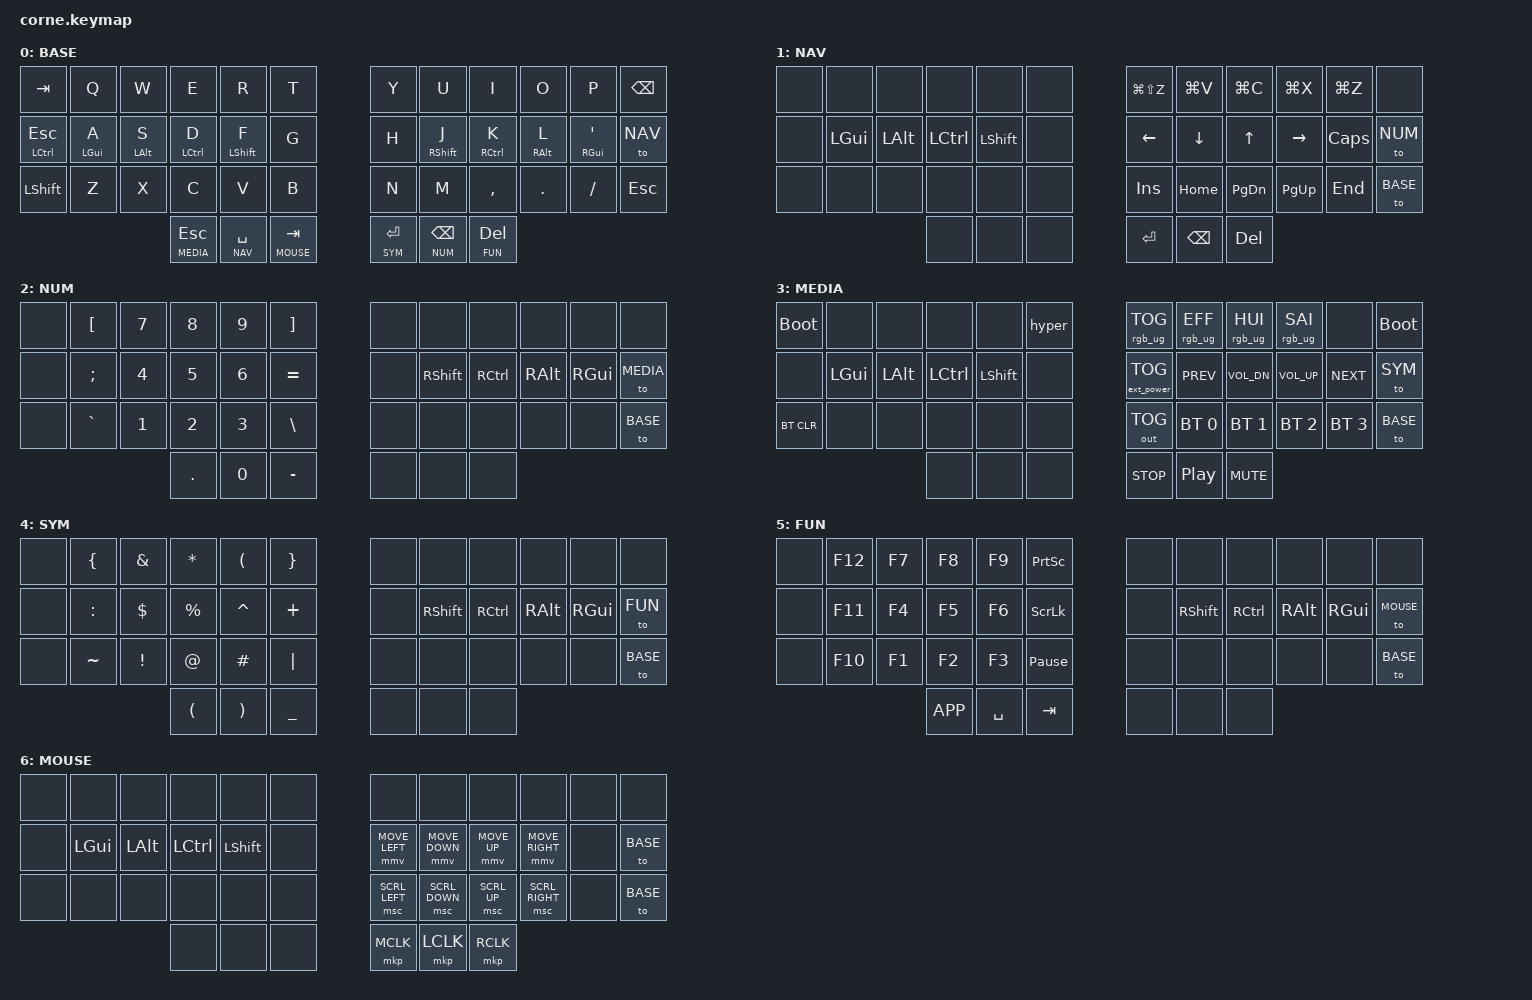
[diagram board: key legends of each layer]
/*
 * Copyright (c) 2020 The ZMK Contributors
 *
 * SPDX-License-Identifier: MIT
 */

//
//   Miryoku-style layout — QWERTY base, vim arrows (HJKL), GACS home row mods
//   Adapted from TOTEM config for Corne (42-key)
//
//   Layer 0: BASE    — QWERTY + home row mods
//   Layer 1: NAV     — vim arrows, clipboard, nav (hold SPACE)
//   Layer 2: NUM     — numpad left hand (hold BSPC)
//   Layer 3: MEDIA   — media, BT, RGB (hold ESC)
//   Layer 4: SYM     — symbols left hand (hold ENTER)
//   Layer 5: FUN     — function keys left hand (hold DEL)
//   Layer 6: MOUSE   — mouse movement, scroll, buttons (hold TAB)
//
//   Tap the far-right home-row key (position 23) to latch the next layer.
//   BASE -> NAV -> NUM -> MEDIA -> SYM -> FUN -> MOUSE -> BASE.
//   On utility layers, the far-right bottom-row key returns to BASE.
//   Hold-thumb shortcuts remain available from BASE; reboot starts at BASE.

#include <behaviors.dtsi>
#include <dt-bindings/zmk/bt.h>
#include <dt-bindings/zmk/ext_power.h>
#include <dt-bindings/zmk/keys.h>
#include <dt-bindings/zmk/outputs.h>
#include <dt-bindings/zmk/pointing.h>
#include <dt-bindings/zmk/rgb.h>

#define BASE  0
#define NAV   1
#define NUM   2
#define MEDIA 3
#define SYM   4
#define FUN   5
#define MOUSE 6

// Corne key positions (42 keys):
// Row 0:  0  1  2  3  4  5    6  7  8  9  10  11
// Row 1: 12 13 14 15 16 17   18 19 20 21  22  23
// Row 2: 24 25 26 27 28 29   30 31 32 33  34  35
// Thumb:          36 37 38   39 40 41

&mt {
    flavor = "tap-preferred";
    tapping-term-ms = <200>;
    quick-tap-ms = <175>;
    require-prior-idle-ms = <150>;
};

&lt {
    flavor = "balanced";
    tapping-term-ms = <200>;
    quick-tap-ms = <175>;
};

/ {
    combos {
        compatible = "zmk,combos";

        // -- Tier 1: Essential --

        combo_caps_word {
            layers = <BASE>; // Letter combos apply only while typing on BASE.
            bindings = <&caps_word>;
            key-positions = <16 19>;        // F + J (index home row)
            timeout-ms = <30>;
            require-prior-idle-ms = <150>;
        };

        combo_esc {
            layers = <BASE>; // Letter combos apply only while typing on BASE.
            bindings = <&kp ESC>;
            key-positions = <2 3>;          // W + E
            timeout-ms = <30>;
            require-prior-idle-ms = <150>;
        };

        combo_bspc {
            layers = <BASE>; // Letter combos apply only while typing on BASE.
            bindings = <&kp BSPC>;
            key-positions = <8 9>;          // I + O
            timeout-ms = <30>;
            require-prior-idle-ms = <150>;
        };

        combo_del {
            layers = <BASE>; // Letter combos apply only while typing on BASE.
            bindings = <&kp DEL>;
            key-positions = <9 10>;         // O + P
            timeout-ms = <30>;
            require-prior-idle-ms = <150>;
        };

        // -- Tier 2: High Value --

        combo_tab {
            layers = <BASE>; // Letter combos apply only while typing on BASE.
            bindings = <&kp TAB>;
            key-positions = <14 15>;        // S + D
            timeout-ms = <30>;
            require-prior-idle-ms = <150>;
        };

        combo_enter {
            layers = <BASE>; // Letter combos apply only while typing on BASE.
            bindings = <&kp RET>;
            key-positions = <20 21>;        // K + L
            timeout-ms = <30>;
            require-prior-idle-ms = <150>;
        };

        combo_copy {
            layers = <BASE>; // Letter combos apply only while typing on BASE.
            bindings = <&kp LG(C)>;
            key-positions = <26 27>;        // X + C
            timeout-ms = <30>;
            require-prior-idle-ms = <150>;
        };

        combo_paste {
            layers = <BASE>; // Letter combos apply only while typing on BASE.
            bindings = <&kp LG(V)>;
            key-positions = <27 28>;        // C + V
            timeout-ms = <30>;
            require-prior-idle-ms = <150>;
        };

        combo_cut {
            layers = <BASE>; // Letter combos apply only while typing on BASE.
            bindings = <&kp LG(X)>;
            key-positions = <26 28>;        // X + V (skip middle)
            timeout-ms = <30>;
            require-prior-idle-ms = <150>;
        };

        // -- Tier 3: Vertical Symbol Combos --

        combo_minus {
            layers = <BASE>; // Letter combos apply only while typing on BASE.
            bindings = <&kp MINUS>;
            key-positions = <19 31>;        // J + M (right index vertical)
            timeout-ms = <40>;
            require-prior-idle-ms = <100>;
        };

        combo_underscore {
            layers = <BASE>; // Letter combos apply only while typing on BASE.
            bindings = <&kp UNDER>;
            key-positions = <18 30>;        // H + N (right inner vertical)
            timeout-ms = <40>;
            require-prior-idle-ms = <100>;
        };

        combo_equal {
            layers = <BASE>; // Letter combos apply only while typing on BASE.
            bindings = <&kp EQUAL>;
            key-positions = <16 28>;        // F + V (left index vertical)
            timeout-ms = <40>;
            require-prior-idle-ms = <100>;
        };

        combo_grave {
            layers = <BASE>; // Letter combos apply only while typing on BASE.
            bindings = <&kp GRAVE>;
            key-positions = <14 26>;        // S + X (left ring vertical)
            timeout-ms = <40>;
            require-prior-idle-ms = <100>;
        };

        combo_semi {
            layers = <BASE>; // Letter combos apply only while typing on BASE.
            bindings = <&kp SEMI>;
            key-positions = <21 22>;        // L + ' (right ring+pinky home)
            timeout-ms = <30>;
            require-prior-idle-ms = <150>;
        };
    };

    macros {
        hyper: hyper {
            compatible = "zmk,behavior-macro";
            #binding-cells = <0>;
            bindings =
                <&macro_press &kp LGUI &kp LALT &kp LCTRL &kp LSHFT>,
                <&macro_pause_for_release>,
                <&macro_release &kp LGUI &kp LALT &kp LCTRL &kp LSHFT>;
        };
    };

    keymap {
        compatible = "zmk,keymap";

        base_layer {
            display-name = "BASE";
            bindings = <
&kp TAB           &kp Q             &kp W             &kp E             &kp R             &kp T             &kp Y             &kp U             &kp I             &kp O             &kp P             &kp BSPC
&mt LCTRL ESC     &mt LGUI A        &mt LALT S        &mt LCTRL D       &mt LSHFT F       &kp G             &kp H             &mt RSHFT J       &mt RCTRL K       &mt RALT L        &mt RGUI SQT      &to NAV
&kp LSHFT         &kp Z             &kp X             &kp C             &kp V             &kp B             &kp N             &kp M             &kp COMMA         &kp DOT           &kp FSLH          &kp ESC
                                &lt MEDIA ESC     &lt NAV SPACE     &lt MOUSE TAB     &lt SYM RET       &lt NUM BSPC      &lt FUN DEL
            >;
        };

        nav_layer {
            display-name = "NAV";
            bindings = <
&none             &none             &none             &none             &none             &none             &kp LG(LS(Z))     &kp LG(V)         &kp LG(C)         &kp LG(X)         &kp LG(Z)         &none
&none             &kp LGUI          &kp LALT          &kp LCTRL         &kp LSHFT         &none             &kp LEFT          &kp DOWN          &kp UP            &kp RIGHT         &kp CAPS          &to NUM
&none             &none             &none             &none             &none             &none             &kp INS           &kp HOME          &kp PG_DN         &kp PG_UP         &kp END           &to BASE
                                &none             &none             &none             &kp RET           &kp BSPC          &kp DEL
            >;
        };

        num_layer {
            display-name = "NUM";
            bindings = <
&none             &kp LBKT          &kp N7            &kp N8            &kp N9            &kp RBKT          &none             &none             &none             &none             &none             &none
&none             &kp SEMI          &kp N4            &kp N5            &kp N6            &kp EQUAL         &none             &kp RSHFT         &kp RCTRL         &kp RALT          &kp RGUI          &to MEDIA
&none             &kp GRAVE         &kp N1            &kp N2            &kp N3            &kp BSLH          &none             &none             &none             &none             &none             &to BASE
                                &kp DOT           &kp N0            &kp MINUS         &none             &none             &none
            >;
        };

        media_layer {
            display-name = "MEDIA";
            bindings = <
&bootloader       &none             &none             &none             &none             &hyper            &rgb_ug RGB_TOG   &rgb_ug RGB_EFF   &rgb_ug RGB_HUI   &rgb_ug RGB_SAI   &none             &bootloader
&none             &kp LGUI          &kp LALT          &kp LCTRL         &kp LSHFT         &none             &ext_power EP_TOG &kp C_PREV        &kp C_VOL_DN      &kp C_VOL_UP      &kp C_NEXT        &to SYM
&bt BT_CLR        &none             &none             &none             &none             &none             &out OUT_TOG      &bt BT_SEL 0      &bt BT_SEL 1      &bt BT_SEL 2      &bt BT_SEL 3      &to BASE
                                &none             &none             &none             &kp C_STOP        &kp C_PP          &kp C_MUTE
            >;
        };

        sym_layer {
            display-name = "SYM";
            bindings = <
&none             &kp LBRC          &kp AMPS          &kp ASTRK         &kp LPAR          &kp RBRC          &none             &none             &none             &none             &none             &none
&none             &kp COLON         &kp DLLR          &kp PRCNT         &kp CARET         &kp PLUS          &none             &kp RSHFT         &kp RCTRL         &kp RALT          &kp RGUI          &to FUN
&none             &kp TILDE         &kp EXCL          &kp AT            &kp HASH          &kp PIPE          &none             &none             &none             &none             &none             &to BASE
                                &kp LPAR          &kp RPAR          &kp UNDER         &none             &none             &none
            >;
        };

        fun_layer {
            display-name = "FUN";
            bindings = <
&none             &kp F12           &kp F7            &kp F8            &kp F9            &kp PSCRN         &none             &none             &none             &none             &none             &none
&none             &kp F11           &kp F4            &kp F5            &kp F6            &kp SLCK          &none             &kp RSHFT         &kp RCTRL         &kp RALT          &kp RGUI          &to MOUSE
&none             &kp F10           &kp F1            &kp F2            &kp F3            &kp PAUSE_BREAK   &none             &none             &none             &none             &none             &to BASE
                                &kp K_APP         &kp SPACE         &kp TAB           &none             &none             &none
            >;
        };

        mouse_layer {
            display-name = "MOUSE";
            bindings = <
&none             &none             &none             &none             &none             &none             &none             &none             &none             &none             &none             &none
&none             &kp LGUI          &kp LALT          &kp LCTRL         &kp LSHFT         &none             &mmv MOVE_LEFT    &mmv MOVE_DOWN    &mmv MOVE_UP      &mmv MOVE_RIGHT   &none             &to BASE
&none             &none             &none             &none             &none             &none             &msc SCRL_LEFT    &msc SCRL_DOWN    &msc SCRL_UP      &msc SCRL_RIGHT   &none             &to BASE
                                &none             &none             &none             &mkp MCLK         &mkp LCLK         &mkp RCLK
            >;
        };
    };
};

